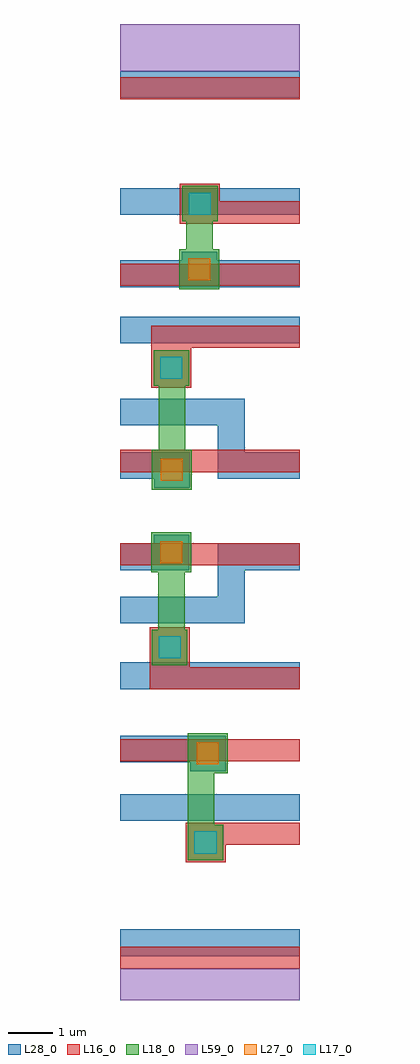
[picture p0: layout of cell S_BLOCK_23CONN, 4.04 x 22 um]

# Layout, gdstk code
import gdstk
lib = gdstk.Library(unit=1e-6, precision=1e-09)
def R(c, l, rs):  # rectangles x0, y0, x1, y1
    for r in rs: c.add(gdstk.rectangle(r[:2], r[2:], *l))
def A(c, l, x, y, w, h, nx, ny, dx, dy):  # array of equal rectangles
    R(c, l, [(x+i*dx, y+j*dy, x+i*dx+w, y+j*dy+h) for i in range(nx) for j in range(ny)])
L16_0 = (16, 0)
L17_0 = (17, 0)
L18_0 = (18, 0)
L27_0 = (27, 0)
L28_0 = (28, 0)
L59_0 = (59, 0)

m3_m2_cdns_744136749520 = lib.new_cell('M3_M2_CDNS_744136749520')
R(m3_m2_cdns_744136749520, L18_0, [(-0.45,-0.45,0.45,0.45)])
R(m3_m2_cdns_744136749520, L27_0, [(-0.25,-0.25,0.25,0.25)])
R(m3_m2_cdns_744136749520, L28_0, [(-0.4,-0.4,0.4,0.4)])

m2_m1_cdns_744136749521 = lib.new_cell('M2_M1_CDNS_744136749521')
R(m2_m1_cdns_744136749521, L16_0, [(-0.45,-0.45,0.45,0.45)])
R(m2_m1_cdns_744136749521, L17_0, [(-0.25,-0.25,0.25,0.25)])
R(m2_m1_cdns_744136749521, L18_0, [(-0.4,-0.4,0.4,0.4)])

s_block_23conn = lib.new_cell('S_BLOCK_23CONN')
A(s_block_23conn, L16_0, 0, 11.9, 4.04, 0.5, 1, 3, 0, 4.2)
R(s_block_23conn, L16_0, [(0,0.7,4.04,1.2), (1.58,3.5,4.04,4), (0,5.38,4.04,5.88), (0,9.8,4.04,10.3), (1.34,17.5,4.04,18)])
R(s_block_23conn, L28_0, [(0,0.99,4.04,1.59), (0,4.04,4.04,4.64), (0,5.36,2.37,5.96), (0,7.01,4.04,7.61), (0,8.49,2.8,9.09), (0,9.69,1.55,10.29), (2.2,9.69,4.04,10.29), (0,11.75,1.56,12.35), (2.2,11.75,4.04,12.35), (0,12.95,2.8,13.55), (0,14.8,4.04,15.4), (0,16.07,4.04,16.67), (0,17.7,4.04,18.3), (0,20.34,4.04,20.94)])
R(s_block_23conn, L59_0, [(0,0,4.04,0.7), (0,20.94,4.04,22)])
s_block_23conn.add(gdstk.FlexPath([(0.7,14.95),(4.04,14.95)], 0.5, ends="flush", simple_path=True, layer=16, datatype=0))  # L16_0
s_block_23conn.add(gdstk.FlexPath([(0.66,7.25),(4.04,7.25)], 0.5, ends="flush", simple_path=True, layer=16, datatype=0))  # L16_0
s_block_23conn.add(gdstk.FlexPath([(1.82,3.55),(1.82,6.01)], 0.6, ends="flush", simple_path=True, layer=18, datatype=0))  # L18_0
s_block_23conn.add(gdstk.FlexPath([(1.78,17.95),(1.78,16.02)], 0.6, ends="flush", simple_path=True, layer=18, datatype=0))  # L18_0
s_block_23conn.add(gdstk.FlexPath([(1.15,7.55),(1.15,10.09)], 0.6, ends="flush", simple_path=True, layer=18, datatype=0))  # L18_0
s_block_23conn.add(gdstk.FlexPath([(1.16,14.64),(1.16,11.95)], 0.6, ends="flush", simple_path=True, layer=18, datatype=0))  # L18_0
s_block_23conn.add(gdstk.FlexPath([(2.5,13.25),(2.5,11.75)], 0.6, ends=(0.3, 0), simple_path=True, layer=28, datatype=0))  # L28_0
s_block_23conn.add(gdstk.FlexPath([(2.5,9.99),(2.5,8.49)], 0.6, ends=(0.3, 0), simple_path=True, layer=28, datatype=0))  # L28_0
s_block_23conn.add(gdstk.Reference(m3_m2_cdns_744136749520, (1.97,5.56)))
s_block_23conn.add(gdstk.Reference(m3_m2_cdns_744136749520, (1.78,16.47)))
s_block_23conn.add(gdstk.Reference(m3_m2_cdns_744136749520, (1.15,10.09)))
s_block_23conn.add(gdstk.Reference(m3_m2_cdns_744136749520, (1.16,11.95)))
s_block_23conn.add(gdstk.Reference(m2_m1_cdns_744136749521, (1.92,3.55)))
s_block_23conn.add(gdstk.Reference(m2_m1_cdns_744136749521, (1.79,17.95)))
s_block_23conn.add(gdstk.Reference(m2_m1_cdns_744136749521, (1.11,7.95)))
s_block_23conn.add(gdstk.Reference(m2_m1_cdns_744136749521, (1.15,14.25)))

lib.write_gds('S_BLOCK_23CONN.gds')
